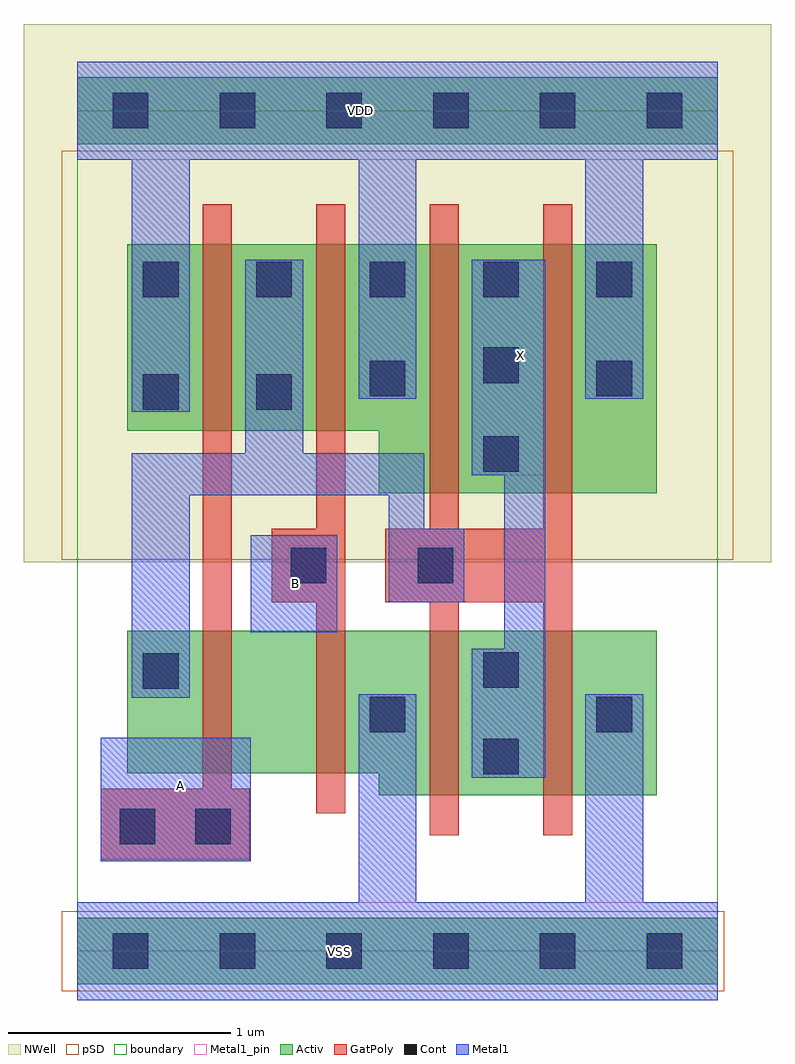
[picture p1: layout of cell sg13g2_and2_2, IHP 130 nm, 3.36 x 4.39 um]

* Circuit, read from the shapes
.subckt sg13g2_and2_2 A B VDD VSS X
XM1 n1 A n2 VSS sg13_lv_nmos w=0.64u l=0.13u
XM2 VSS B n1 VSS sg13_lv_nmos w=0.64u l=0.13u
XM3 X n2 VSS VSS sg13_lv_nmos w=0.74u l=0.13u m=2
XM4 n2 A VDD VDD sg13_lv_pmos w=0.84u l=0.13u
XM5 VDD B n2 VDD sg13_lv_pmos w=0.84u l=0.13u
XM6 X n2 VDD VDD sg13_lv_pmos w=1.12u l=0.13u m=2
.ends

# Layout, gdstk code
import gdstk
lib = gdstk.Library(unit=1e-6, precision=1e-09)
def R(c, l, rs):  # rectangles x0, y0, x1, y1
    for r in rs: c.add(gdstk.rectangle(r[:2], r[2:], *l))
def A(c, l, x, y, w, h, nx, ny, dx, dy):  # array of equal rectangles
    R(c, l, [(x+i*dx, y+j*dy, x+i*dx+w, y+j*dy+h) for i in range(nx) for j in range(ny)])
def P(c, l, *ps):  # polygons
    for p in ps: c.add(gdstk.Polygon(p, *l))
Activ = (1, 0)
GatPoly = (5, 0)
Cont = (6, 0)
Metal1 = (8, 0)
Metal1_pin = (8, 2)
pSD = (14, 0)
NWell = (31, 0)
boundary = (189, 4)

sg13g2_and2_2 = lib.new_cell('sg13g2_and2_2')
R(sg13g2_and2_2, Activ, [(0,-0.15,2.88,0.15), (0,3.63,2.88,3.93)])
P(sg13g2_and2_2, Activ, [(1.355,0.7),(1.355,0.8),(0.225,0.8),(0.225,1.44),(2.605,1.44),(2.605,0.7)],
  [(1.355,2.06),(1.355,2.34),(0.225,2.34),(0.225,3.18),(2.605,3.18),(2.605,2.06)])
P(sg13g2_and2_2, GatPoly, [(1.585,0.52),(1.585,1.57),(1.385,1.57),(1.385,1.9),(1.585,1.9),(1.585,3.36),(1.715,3.36),(1.715,1.9),(2.095,1.9),(2.095,3.36),(2.225,3.36),(2.225,0.52),(2.095,0.52),(2.095,1.57),(1.715,1.57),(1.715,0.52)],
  [(0.105,0.41),(0.105,0.73),(0.565,0.73),(0.565,3.36),(0.695,3.36),(0.695,0.73),(0.775,0.73),(0.775,0.41)],
  [(1.075,0.62),(1.075,1.57),(0.875,1.57),(0.875,1.9),(1.075,1.9),(1.075,3.36),(1.205,3.36),(1.205,0.62)])
A(sg13g2_and2_2, Cont, 0.16, -0.08, 0.16, 0.16, 6, 1, 0.48, 0)
A(sg13g2_and2_2, Cont, 0.295, 2.94, 0.16, 0.16, 5, 1, 0.51, 0)
A(sg13g2_and2_2, Cont, 1.6, 3.7, 0.16, 0.16, 3, 1, 0.48, 0)
R(sg13g2_and2_2, Cont, [(0.19,0.48,0.35,0.64), (0.53,0.48,0.69,0.64), (1.825,0.795,1.985,0.955), (1.315,0.985,1.475,1.145), (2.335,0.985,2.495,1.145), (0.295,1.18,0.455,1.34), (1.825,1.185,1.985,1.345), (0.96,1.655,1.12,1.815), (1.53,1.655,1.69,1.815), (1.825,2.155,1.985,2.315), (0.295,2.435,0.455,2.595), (0.805,2.435,0.965,2.595), (1.315,2.495,1.475,2.655), (2.335,2.495,2.495,2.655), (1.825,2.555,1.985,2.715), (0.16,3.7,0.32,3.86), (0.16,3.7,0.32,3.86), (0.16,3.7,0.32,3.86), (0.64,3.7,0.8,3.86), (0.64,3.7,0.8,3.86), (1.12,3.7,1.28,3.86), (1.12,3.7,1.28,3.86), (1.6,3.7,1.76,3.86)])
R(sg13g2_and2_2, Metal1, [(0.105,0.405,0.78,0.96), (0.78,1.435,1.17,1.87)])
P(sg13g2_and2_2, Metal1, [(1.775,0.78),(1.775,1.36),(1.92,1.36),(1.92,2.14),(1.775,2.14),(1.775,3.11),(2.105,3.11),(2.105,0.78)],
  [(0,-0.22),(0,0.22),(1.265,0.22),(1.265,1.155),(1.525,1.155),(1.525,0.22),(2.285,0.22),(2.285,1.155),(2.545,1.155),(2.545,0.22),(2.88,0.22),(2.88,-0.22)],
  [(0.245,1.14),(0.245,2.24),(0.755,2.24),(0.755,3.11),(1.015,3.11),(1.015,2.24),(1.56,2.24),(1.56,1.9),(1.74,1.9),(1.74,1.57),(1.4,1.57),(1.4,2.05),(0.505,2.05),(0.505,1.14)],
  [(0.245,2.425),(0.245,3.56),(0,3.56),(0,4),(2.88,4),(2.88,3.56),(2.545,3.56),(2.545,2.485),(2.285,2.485),(2.285,3.56),(1.525,3.56),(1.525,2.485),(1.265,2.485),(1.265,3.56),(0.505,3.56),(0.505,2.425)])
R(sg13g2_and2_2, Metal1_pin, [(0,-0.22,2.88,0.22), (0.105,0.405,0.78,0.96), (0.78,1.435,1.17,1.87), (1.775,2.14,2.105,3.11), (0,3.56,2.88,4)])
R(sg13g2_and2_2, pSD, [(-0.07,-0.18,2.91,0.18), (-0.07,1.76,2.95,3.6)])
R(sg13g2_and2_2, NWell, [(-0.24,1.75,0.72,4.17), (-0.24,1.75,2.64,4.17), (2.16,1.75,3.12,4.17)])
R(sg13g2_and2_2, boundary, [(0,0,2.88,3.78)])
sg13g2_and2_2.add(gdstk.Label('X', (1.995,2.68), layer=8, texttype=25))
sg13g2_and2_2.add(gdstk.Label('VSS', (1.18,0), layer=8, texttype=25))
sg13g2_and2_2.add(gdstk.Label('VDD', (1.275,3.78), layer=8, texttype=25))
sg13g2_and2_2.add(gdstk.Label('B', (0.98,1.655), layer=8, texttype=25))
sg13g2_and2_2.add(gdstk.Label('A', (0.465,0.745), layer=8, texttype=25))

lib.write_gds('sg13g2_and2_2.gds')
